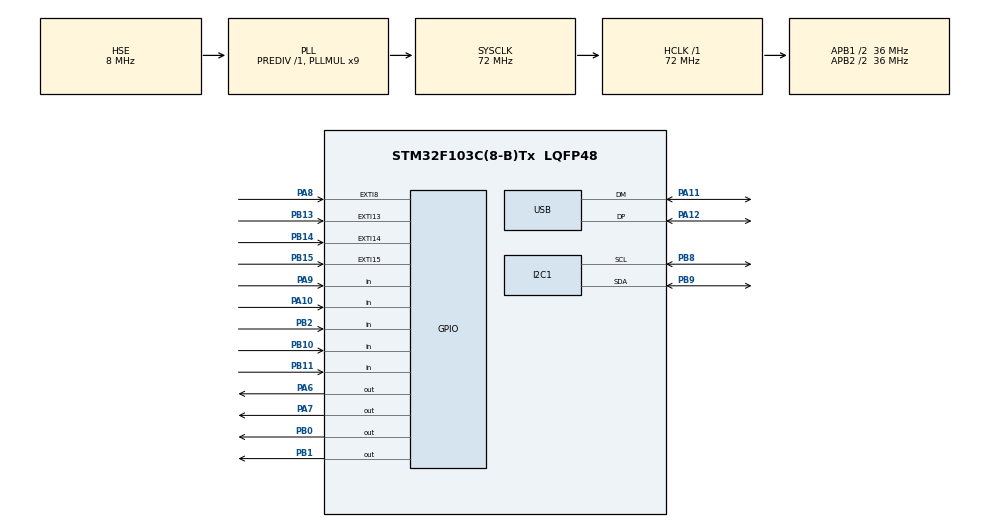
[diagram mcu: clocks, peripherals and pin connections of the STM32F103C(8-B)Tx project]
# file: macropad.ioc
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Mcu.Family=STM32F1
Mcu.Name=STM32F103C(8-B)Tx
Mcu.Package=LQFP48
NVIC.EXTI15_10_IRQn=true\:0\:0\:false\:false\:true\:true\:true\:true
NVIC.EXTI9_5_IRQn=true\:0\:0\:false\:false\:true\:true\:true\:true
NVIC.PriorityGroup=NVIC_PRIORITYGROUP_4
NVIC.USB_LP_CAN1_RX0_IRQn=true\:0\:0\:false\:false\:true\:false\:true\:true
PA10.Signal=GPIO_Input
PA11.Mode=Device
PA11.Signal=USB_DM
PA12.Mode=Device
PA12.Signal=USB_DP
PA13.Mode=Serial_Wire
PA13.Signal=SYS_JTMS-SWDIO
PA14.Mode=Serial_Wire
PA14.Signal=SYS_JTCK-SWCLK
PA6.GPIO_PuPd=GPIO_PULLDOWN
PA6.Signal=GPIO_Output
PA7.GPIO_PuPd=GPIO_PULLDOWN
PA7.Signal=GPIO_Output
PA8.GPIO_ModeDefaultEXTI=GPIO_MODE_IT_RISING
PA8.GPIO_PuPd=GPIO_PULLUP
PA8.Signal=GPXTI8
PA9.Signal=GPIO_Input
PB0.GPIO_PuPd=GPIO_PULLDOWN
PB0.Signal=GPIO_Output
PB1.GPIO_PuPd=GPIO_PULLDOWN
PB1.Signal=GPIO_Output
PB10.Signal=GPIO_Input
PB11.Signal=GPIO_Input
PB13.GPIO_ModeDefaultEXTI=GPIO_MODE_IT_RISING
PB13.GPIO_PuPd=GPIO_PULLUP
PB13.Signal=GPXTI13
PB14.GPIO_ModeDefaultEXTI=GPIO_MODE_IT_RISING
PB14.GPIO_PuPd=GPIO_PULLUP
PB14.Signal=GPXTI14
PB15.GPIO_ModeDefaultEXTI=GPIO_MODE_IT_RISING
PB15.GPIO_PuPd=GPIO_PULLUP
PB15.Signal=GPXTI15
PB2.Signal=GPIO_Input
PB8.Mode=I2C
PB8.Signal=I2C1_SCL
PB9.Mode=I2C
PB9.Signal=I2C1_SDA
PD0-OSC_IN.Mode=HSE-External-Oscillator
PD0-OSC_IN.Signal=RCC_OSC_IN
PD1-OSC_OUT.Mode=HSE-External-Oscillator
PD1-OSC_OUT.Signal=RCC_OSC_OUT
ProjectManager.HeapSize=0x200
ProjectManager.StackSize=0x400
ProjectManager.TargetToolchain=STM32CubeIDE
RCC.AHBFreq_Value=72000000
RCC.APB1CLKDivider=RCC_HCLK_DIV2
RCC.APB1Freq_Value=36000000
RCC.APB1TimFreq_Value=72000000
RCC.APB2CLKDivider=RCC_HCLK_DIV2
RCC.APB2Freq_Value=36000000
RCC.APB2TimFreq_Value=72000000
RCC.HCLKFreq_Value=72000000
RCC.PLLMUL=RCC_PLL_MUL9
RCC.SYSCLKFreq_VALUE=72000000
RCC.SYSCLKSource=RCC_SYSCLKSOURCE_PLLCLK
RCC.USBFreq_Value=48000000
RCC.USBPrescaler=RCC_USBCLKSOURCE_PLL_DIV1_5
USB_DEVICE.CLASS_NAME_FS=HID
USB_DEVICE.PRODUCT_STRING_HID_FS=macropad
USB_DEVICE.VirtualMode=Hid
USB_DEVICE.VirtualModeFS=Hid_FS
VP_USB_DEVICE_VS_USB_DEVICE_HID_FS.Mode=HID_FS
board=custom

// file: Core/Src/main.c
/* USER CODE BEGIN Header */
/**
  ******************************************************************************
  * @file           : main.c
  * @brief          : Main program body
  ******************************************************************************
  * @attention
  *
  * Copyright (c) 2022 STMicroelectronics.
  * All rights reserved.
  *
  * This software is licensed under terms that can be found in the LICENSE file
  * in the root directory of this software component.
  * If no LICENSE file comes with this software, it is provided AS-IS.
  *
  ******************************************************************************
  */
/* USER CODE END Header */
#include "main.h"
#include "usb_device.h"

/* USER CODE BEGIN Includes */

#include "usbd_hid.h"

#include "keyboard.h"
#include "port.h"

#include "ssd1306.h"
#include "fonts.h"
#include "logo.h"

#include "menu.h"

/* USER CODE END Includes */

/* USER CODE BEGIN PD */
#define DEBOUNCE_TIME_MS  20 // Debounce time in milliseconds
/* USER CODE END PD */

I2C_HandleTypeDef hi2c1;

void SystemClock_Config(void);
static void MX_GPIO_Init(void);
static void MX_I2C1_Init(void);

/* USER CODE BEGIN 0 */

extern USBD_HandleTypeDef hUsbDeviceFS;
extern keyboardHID keyboardhid;
/* USER CODE END 0 */
int main(void)
{

  /* MCU Configuration--------------------------------------------------------*/

  /* Reset of all peripherals, Initializes the Flash interface and the Systick. */
  HAL_Init();

  /* Configure the system clock */
  SystemClock_Config();

  /* Initialize all configured peripherals */
  MX_GPIO_Init();
  MX_USB_DEVICE_Init();
  MX_I2C1_Init();
  /* USER CODE BEGIN 2 */

  systemInit();

  /* USER CODE END 2 */

  /* Infinite loop */
  /* USER CODE BEGIN WHILE */
  while (1)
  {

	  systemControl();
    /* USER CODE END WHILE */

  }
}

void SystemClock_Config(void)
{
  RCC_OscInitTypeDef RCC_OscInitStruct = {0};
  RCC_ClkInitTypeDef RCC_ClkInitStruct = {0};
  RCC_PeriphCLKInitTypeDef PeriphClkInit = {0};

  /** Initializes the RCC Oscillators according to the specified parameters
  * in the RCC_OscInitTypeDef structure.
  */
  RCC_OscInitStruct.OscillatorType = RCC_OSCILLATORTYPE_HSE;
  RCC_OscInitStruct.HSEState = RCC_HSE_ON;
  RCC_OscInitStruct.HSEPredivValue = RCC_HSE_PREDIV_DIV1;
  RCC_OscInitStruct.HSIState = RCC_HSI_ON;
  RCC_OscInitStruct.PLL.PLLState = RCC_PLL_ON;
  RCC_OscInitStruct.PLL.PLLSource = RCC_PLLSOURCE_HSE;
  RCC_OscInitStruct.PLL.PLLMUL = RCC_PLL_MUL9;
  if (HAL_RCC_OscConfig(&RCC_OscInitStruct) != HAL_OK)
  {
    Error_Handler();
  }

  /** Initializes the CPU, AHB and APB buses clocks
  */
  RCC_ClkInitStruct.ClockType = RCC_CLOCKTYPE_HCLK|RCC_CLOCKTYPE_SYSCLK
                              |RCC_CLOCKTYPE_PCLK1|RCC_CLOCKTYPE_PCLK2;
  RCC_ClkInitStruct.SYSCLKSource = RCC_SYSCLKSOURCE_PLLCLK;
  RCC_ClkInitStruct.AHBCLKDivider = RCC_SYSCLK_DIV1;
  RCC_ClkInitStruct.APB1CLKDivider = RCC_HCLK_DIV2;
  RCC_ClkInitStruct.APB2CLKDivider = RCC_HCLK_DIV2;

  if (HAL_RCC_ClockConfig(&RCC_ClkInitStruct, FLASH_LATENCY_2) != HAL_OK)
  {
    Error_Handler();
  }
  PeriphClkInit.PeriphClockSelection = RCC_PERIPHCLK_USB;
  PeriphClkInit.UsbClockSelection = RCC_USBCLKSOURCE_PLL_DIV1_5;
  if (HAL_RCCEx_PeriphCLKConfig(&PeriphClkInit) != HAL_OK)
  {
    Error_Handler();
  }
}

static void MX_I2C1_Init(void)
{

  hi2c1.Instance = I2C1;
  hi2c1.Init.ClockSpeed = 100000;
  hi2c1.Init.DutyCycle = I2C_DUTYCYCLE_2;
  hi2c1.Init.OwnAddress1 = 0;
  hi2c1.Init.AddressingMode = I2C_ADDRESSINGMODE_7BIT;
  hi2c1.Init.DualAddressMode = I2C_DUALADDRESS_DISABLE;
  hi2c1.Init.OwnAddress2 = 0;
  hi2c1.Init.GeneralCallMode = I2C_GENERALCALL_DISABLE;
  hi2c1.Init.NoStretchMode = I2C_NOSTRETCH_DISABLE;
  if (HAL_I2C_Init(&hi2c1) != HAL_OK)
  {
    Error_Handler();
  }

}

static void MX_GPIO_Init(void)
{
  GPIO_InitTypeDef GPIO_InitStruct = {0};

  /* GPIO Ports Clock Enable */
  __HAL_RCC_GPIOD_CLK_ENABLE();
  __HAL_RCC_GPIOA_CLK_ENABLE();
  __HAL_RCC_GPIOB_CLK_ENABLE();

  /*Configure GPIO pin Output Level */
  HAL_GPIO_WritePin(GPIOA, GPIO_PIN_6|GPIO_PIN_7, GPIO_PIN_RESET);

  /*Configure GPIO pin Output Level */
  HAL_GPIO_WritePin(GPIOB, GPIO_PIN_0|GPIO_PIN_1, GPIO_PIN_RESET);

  /*Configure GPIO pins : PA6 PA7 */
  GPIO_InitStruct.Pin = GPIO_PIN_6|GPIO_PIN_7;
  GPIO_InitStruct.Mode = GPIO_MODE_OUTPUT_PP;
  GPIO_InitStruct.Pull = GPIO_PULLDOWN;
  GPIO_InitStruct.Speed = GPIO_SPEED_FREQ_LOW;
  HAL_GPIO_Init(GPIOA, &GPIO_InitStruct);

  /*Configure GPIO pins : PB0 PB1 */
  GPIO_InitStruct.Pin = GPIO_PIN_0|GPIO_PIN_1;
  GPIO_InitStruct.Mode = GPIO_MODE_OUTPUT_PP;
  GPIO_InitStruct.Pull = GPIO_PULLDOWN;
  GPIO_InitStruct.Speed = GPIO_SPEED_FREQ_LOW;
  HAL_GPIO_Init(GPIOB, &GPIO_InitStruct);

  /*Configure GPIO pins : PB2 PB10 PB11 */
  GPIO_InitStruct.Pin = GPIO_PIN_2|GPIO_PIN_10|GPIO_PIN_11;
  GPIO_InitStruct.Mode = GPIO_MODE_INPUT;
  GPIO_InitStruct.Pull = GPIO_NOPULL;
  HAL_GPIO_Init(GPIOB, &GPIO_InitStruct);

  /*Configure GPIO pins : PB13 PB14 PB15 */
  GPIO_InitStruct.Pin = GPIO_PIN_13|GPIO_PIN_14|GPIO_PIN_15;
  GPIO_InitStruct.Mode = GPIO_MODE_IT_RISING;
  GPIO_InitStruct.Pull = GPIO_PULLUP;
  HAL_GPIO_Init(GPIOB, &GPIO_InitStruct);

  /*Configure GPIO pin : PA8 */
  GPIO_InitStruct.Pin = GPIO_PIN_8;
  GPIO_InitStruct.Mode = GPIO_MODE_IT_RISING;
  GPIO_InitStruct.Pull = GPIO_PULLUP;
  HAL_GPIO_Init(GPIOA, &GPIO_InitStruct);

  /*Configure GPIO pins : PA9 PA10 */
  GPIO_InitStruct.Pin = GPIO_PIN_9|GPIO_PIN_10;
  GPIO_InitStruct.Mode = GPIO_MODE_INPUT;
  GPIO_InitStruct.Pull = GPIO_NOPULL;
  HAL_GPIO_Init(GPIOA, &GPIO_InitStruct);

  /* EXTI interrupt init*/
  HAL_NVIC_SetPriority(EXTI9_5_IRQn, 0, 0);
  HAL_NVIC_EnableIRQ(EXTI9_5_IRQn);

  HAL_NVIC_SetPriority(EXTI15_10_IRQn, 0, 0);
  HAL_NVIC_EnableIRQ(EXTI15_10_IRQn);

}

/* USER CODE BEGIN 4 */
void systemInit()
{
	  EE_Init();
	  EE_ReadEeprom();
	  ssd1306_Init(&hi2cScreen);
	  ssd1306_Fill(Black);
	  ssd1306_UpdateScreen(&hi2cScreen);
	  cursorPosition 	 = 1;
	  topMenuPosition 	 = 1;
	  bottomMenuPosition = 3;
	  Button		 	 = 0;
	  rotary1Counter	 = 0;
	  rotary2Counter	 = 0;
	  lastDebounceTime = 0;
	  menuFlag = 0;
	  displayFlag = 1;
	  nodeTransition = idleE;
	  DisplayOption = DisplayAll;
	  InitMenu();
	  currentM=&buttonM;
}

void systemControl()
{
	buttonControl();
	encoderControl();
	displayControl();

}
void HAL_GPIO_EXTI_Callback(uint16_t GPIO_Pin){
	 uint32_t currentTime = HAL_GetTick();

	  if (currentTime < lastDebounceTime + DEBOUNCE_TIME_MS)
	  {
	    // Debounce period not yet expired, so return without updating the count
	    return;
	  }

	  if (GPIO_Pin == GPIO_PIN_8)
	  {
	    if (HAL_GPIO_ReadPin(GPIOB, GPIO_PIN_15) == GPIO_PIN_SET)
	    {
	    	rotary1Counter--;
	    }
	    else
	    {
	    	rotary1Counter++;
	    }

	   lastDebounceTime = currentTime;
	  }

	  if (GPIO_Pin == GPIO_PIN_14)
	  {
	    if (HAL_GPIO_ReadPin(GPIOB, GPIO_PIN_13) == GPIO_PIN_SET)
	    {
	    	rotary2Counter--;
	    }
	    else
	    {
	    	rotary2Counter++;
	    }

	   lastDebounceTime = currentTime;
	  }

}
/* USER CODE END 4 */

void Error_Handler(void)
{
  __disable_irq();
  while (1)
  {
  }
}
